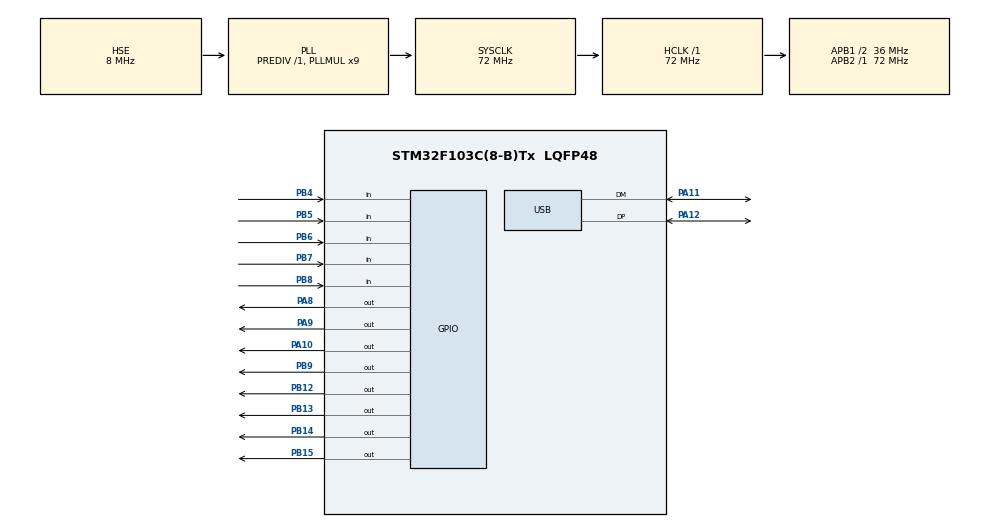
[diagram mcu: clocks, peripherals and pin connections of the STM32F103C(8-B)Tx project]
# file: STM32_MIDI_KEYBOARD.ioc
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Mcu.Family=STM32F1
Mcu.Name=STM32F103C(8-B)Tx
Mcu.Package=LQFP48
NVIC.PriorityGroup=NVIC_PRIORITYGROUP_4
PA10.GPIO_PuPd=GPIO_PULLDOWN
PA10.GPIO_Speed=GPIO_SPEED_FREQ_MEDIUM
PA10.Signal=GPIO_Output
PA11.Mode=Device
PA11.Signal=USB_DM
PA12.Mode=Device
PA12.Signal=USB_DP
PA13.Mode=Serial_Wire
PA13.Signal=SYS_JTMS-SWDIO
PA14.Mode=Serial_Wire
PA14.Signal=SYS_JTCK-SWCLK
PA8.GPIO_PuPd=GPIO_PULLDOWN
PA8.GPIO_Speed=GPIO_SPEED_FREQ_MEDIUM
PA8.Signal=GPIO_Output
PA9.GPIO_PuPd=GPIO_PULLDOWN
PA9.GPIO_Speed=GPIO_SPEED_FREQ_MEDIUM
PA9.Signal=GPIO_Output
PB12.GPIO_PuPd=GPIO_PULLDOWN
PB12.GPIO_Speed=GPIO_SPEED_FREQ_MEDIUM
PB12.Signal=GPIO_Output
PB13.GPIO_PuPd=GPIO_PULLDOWN
PB13.GPIO_Speed=GPIO_SPEED_FREQ_MEDIUM
PB13.Signal=GPIO_Output
PB14.GPIO_PuPd=GPIO_PULLDOWN
PB14.GPIO_Speed=GPIO_SPEED_FREQ_MEDIUM
PB14.Signal=GPIO_Output
PB15.GPIO_PuPd=GPIO_PULLDOWN
PB15.GPIO_Speed=GPIO_SPEED_FREQ_MEDIUM
PB15.Signal=GPIO_Output
PB4.GPIO_PuPd=GPIO_PULLDOWN
PB4.Signal=GPIO_Input
PB5.GPIO_PuPd=GPIO_PULLDOWN
PB5.Signal=GPIO_Input
PB6.GPIO_PuPd=GPIO_PULLDOWN
PB6.Signal=GPIO_Input
PB7.GPIO_PuPd=GPIO_PULLDOWN
PB7.Signal=GPIO_Input
PB8.GPIO_PuPd=GPIO_PULLDOWN
PB8.Signal=GPIO_Input
PB9.GPIO_PuPd=GPIO_PULLDOWN
PB9.GPIO_Speed=GPIO_SPEED_FREQ_MEDIUM
PB9.Signal=GPIO_Output
PC14-OSC32_IN.Mode=LSE-External-Oscillator
PC14-OSC32_IN.Signal=RCC_OSC32_IN
PC15-OSC32_OUT.Mode=LSE-External-Oscillator
PC15-OSC32_OUT.Signal=RCC_OSC32_OUT
PD0-OSC_IN.Mode=HSE-External-Oscillator
PD0-OSC_IN.Signal=RCC_OSC_IN
PD1-OSC_OUT.Mode=HSE-External-Oscillator
PD1-OSC_OUT.Signal=RCC_OSC_OUT
ProjectManager.HeapSize=0x200
ProjectManager.StackSize=0x400
ProjectManager.TargetToolchain=Makefile
RCC.AHBFreq_Value=72000000
RCC.APB1CLKDivider=RCC_HCLK_DIV2
RCC.APB1Freq_Value=36000000
RCC.APB1TimFreq_Value=72000000
RCC.APB2Freq_Value=72000000
RCC.APB2TimFreq_Value=72000000
RCC.HCLKFreq_Value=72000000
RCC.PLLMUL=RCC_PLL_MUL9
RCC.SYSCLKFreq_VALUE=72000000
RCC.SYSCLKSource=RCC_SYSCLKSOURCE_PLLCLK
RCC.USBFreq_Value=48000000
RCC.USBPrescaler=RCC_USBCLKSOURCE_PLL_DIV1_5
board=custom

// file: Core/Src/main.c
/* USER CODE BEGIN Header */
/**
 ******************************************************************************
 * @file           : main.c
 * @brief          : Main program body
 ******************************************************************************
 * @attention
 *
 * Copyright (c) 2024 STMicroelectronics.
 * All rights reserved.
 *
 * This software is licensed under terms that can be found in the LICENSE file
 * in the root directory of this software component.
 * If no LICENSE file comes with this software, it is provided AS-IS.
 *
 ******************************************************************************
 */
/* USER CODE END Header */
#include "main.h"
#include "usb.h"
#include "gpio.h"

/* USER CODE BEGIN Includes */
#include "usb_device.h"
#include "usbd_midi_if.h"
#include <string.h>
#include <stdint.h>
#include "midiMessage.h"

/* USER CODE END Includes */

/* USER CODE BEGIN PM */
PCD_HandleTypeDef hpcd_USB_FS;
/* USER CODE END PM */

/* USER CODE BEGIN PV */
static int firstNote = 53;

static uint64_t keypadState = 0;
static uint64_t previousKeypadState = 0;

/* USER CODE END PV */

void SystemClock_Config();

uint64_t GetKeypadState();

/* USER CODE BEGIN 0 */

uint8_t GetRowState(GPIO_TypeDef *gpio, uint16_t pin)
{
	HAL_GPIO_WritePin(gpio, pin, GPIO_PIN_SET);

	uint32_t oldResult = 0;
	uint32_t result = 0;
	uint8_t sameResultCount = 5;
	uint8_t allResultCount = 10;
	while (sameResultCount > 0 && allResultCount > 0)
	{
		result = GPIOB->IDR & (GPIO_PIN_4 | GPIO_PIN_5 | GPIO_PIN_6 | GPIO_PIN_7 | GPIO_PIN_8); // B4,B5,B6,B7,B8
		if (oldResult == result)
		{
			sameResultCount--;
		}
		else
		{
			sameResultCount = 5;
			oldResult = result;
		}

		allResultCount--;
	}

	HAL_GPIO_WritePin(gpio, pin, GPIO_PIN_RESET);

	return (uint8_t)(result >> 4);
}

uint64_t GetColumnState(GPIO_TypeDef *gpio, uint16_t pin)
{
	HAL_GPIO_WritePin(gpio, pin, GPIO_PIN_SET);

	uint64_t oldResult = 0;
	uint64_t result = 0;
	uint8_t sameResultCount = 5;
	uint8_t allResultCount = 10;
	uint32_t resultA;
	uint32_t resultB;
	while (sameResultCount > 0 && allResultCount > 0)
	{
		resultA = GPIOA->IDR & (GPIO_PIN_8 | GPIO_PIN_9 | GPIO_PIN_10);								 // A8,A9,A10
		resultB = GPIOB->IDR & (GPIO_PIN_9 | GPIO_PIN_12 | GPIO_PIN_13 | GPIO_PIN_14 | GPIO_PIN_14); // B9,B12,B13,B14,B15
		result = 0;
		if (resultB & GPIO_PIN_9)
		{
			result |= 1;
		}
		if (resultA & GPIO_PIN_10)
		{
			result |= 1 << 5;
		}
		if (resultA & GPIO_PIN_9)
		{
			result |= 1 << 10;
		}
		if (resultA & GPIO_PIN_8)
		{
			result |= 1 << 15;
		}
		if (resultB & GPIO_PIN_15)
		{
			result |= 1 << 20;
		}
		if (resultB & GPIO_PIN_14)
		{
			result |= 1 << 25;
		}
		if (resultB & GPIO_PIN_13)
		{
			result |= 1 << 30;
		}
		if (resultB & GPIO_PIN_12)
		{
			result |= (uint64_t)1 << 35;
		}

		if (oldResult == result)
		{
			sameResultCount--;
		}
		else
		{
			sameResultCount = 5;
			oldResult = result;
		}

		allResultCount--;
	}

	HAL_GPIO_WritePin(gpio, pin, GPIO_PIN_RESET);

	return result;
}

uint64_t GetKeypadStateByRow()
{
	uint64_t result = 0;
	uint8_t rowState;

	rowState = GetRowState(GPIOB, GPIO_PIN_12);
	result |= rowState;
	result <<= 5;

	rowState = GetRowState(GPIOB, GPIO_PIN_13);
	result |= rowState;
	result <<= 5;

	rowState = GetRowState(GPIOB, GPIO_PIN_14);
	result |= rowState;
	result <<= 5;

	rowState = GetRowState(GPIOB, GPIO_PIN_15);
	result |= rowState;
	result <<= 5;

	rowState = GetRowState(GPIOA, GPIO_PIN_8);
	result |= rowState;
	result <<= 5;

	rowState = GetRowState(GPIOA, GPIO_PIN_9);
	result |= rowState;
	result <<= 5;

	rowState = GetRowState(GPIOA, GPIO_PIN_10);
	result |= rowState;
	result <<= 5;

	rowState = GetRowState(GPIOB, GPIO_PIN_9);
	result |= rowState;

	return result;
}

uint64_t GetKeypadStateByColumn()
{

	uint64_t result = 0;
	uint64_t columnState;

	columnState = GetColumnState(GPIOB, GPIO_PIN_4);
	result |= columnState;

	columnState = GetColumnState(GPIOB, GPIO_PIN_5);
	result |= columnState << 1;

	columnState = GetColumnState(GPIOB, GPIO_PIN_6);
	result |= columnState << 2;

	columnState = GetColumnState(GPIOB, GPIO_PIN_7);
	result |= columnState << 3;

	columnState = GetColumnState(GPIOB, GPIO_PIN_8);
	result |= columnState << 4;

	return result;
}

uint64_t GetKeypadState()
{
	uint64_t resultByRow = GetKeypadStateByRow();
	uint64_t resultByColumn = GetKeypadStateByColumn();

	return resultByRow | resultByColumn;
}

/* USER CODE END 0 */

int main(void)
{

	/* MCU Configuration--------------------------------------------------------*/

	/* Reset of all peripherals, Initializes the Flash interface and the Systick. */
	HAL_Init();

	/* Configure the system clock */
	SystemClock_Config();

	/* Initialize all configured peripherals */
	MX_GPIO_Init();
	MX_USB_PCD_Init();
	/* USER CODE BEGIN 2 */

	HAL_NVIC_SetPriority(USB_LP_CAN1_RX0_IRQn, 2, 0);
	HAL_NVIC_EnableIRQ(USB_LP_CAN1_RX0_IRQn);
	MX_USB_DEVICE_Init();

	/* USER CODE END 2 */

	/* Infinite loop */
	/* USER CODE BEGIN WHILE */
	while (1)
	{
		keypadState = GetKeypadState();
		if (keypadState != previousKeypadState)
		{
			for (int note = 0; note < 37; note++)
			{
				uint64_t noteBit = (uint64_t)1 << note;
				if ((keypadState & noteBit) != (previousKeypadState & noteBit))
				{
					if ((keypadState & noteBit) == 0)
					{
						// note released
						midiMessage(MIDI_NOTE_OFF, 0, firstNote + note, 0);
					}
					else
					{
						// note pressed
						midiMessage(MIDI_NOTE_ON, 0, firstNote + note, 100);
					}
				}
			}

			previousKeypadState = keypadState;
		}

		/* USER CODE END WHILE */

	}
}

void SystemClock_Config(void)
{
	RCC_OscInitTypeDef RCC_OscInitStruct = {0};
	RCC_ClkInitTypeDef RCC_ClkInitStruct = {0};
	RCC_PeriphCLKInitTypeDef PeriphClkInit = {0};

	/** Initializes the RCC Oscillators according to the specified parameters
	 * in the RCC_OscInitTypeDef structure.
	 */
	RCC_OscInitStruct.OscillatorType = RCC_OSCILLATORTYPE_HSE;
	RCC_OscInitStruct.HSEState = RCC_HSE_ON;
	RCC_OscInitStruct.HSEPredivValue = RCC_HSE_PREDIV_DIV1;
	RCC_OscInitStruct.HSIState = RCC_HSI_ON;
	RCC_OscInitStruct.PLL.PLLState = RCC_PLL_ON;
	RCC_OscInitStruct.PLL.PLLSource = RCC_PLLSOURCE_HSE;
	RCC_OscInitStruct.PLL.PLLMUL = RCC_PLL_MUL9;
	if (HAL_RCC_OscConfig(&RCC_OscInitStruct) != HAL_OK)
	{
		Error_Handler();
	}

	/** Initializes the CPU, AHB and APB buses clocks
	 */
	RCC_ClkInitStruct.ClockType = RCC_CLOCKTYPE_HCLK | RCC_CLOCKTYPE_SYSCLK | RCC_CLOCKTYPE_PCLK1 | RCC_CLOCKTYPE_PCLK2;
	RCC_ClkInitStruct.SYSCLKSource = RCC_SYSCLKSOURCE_PLLCLK;
	RCC_ClkInitStruct.AHBCLKDivider = RCC_SYSCLK_DIV1;
	RCC_ClkInitStruct.APB1CLKDivider = RCC_HCLK_DIV2;
	RCC_ClkInitStruct.APB2CLKDivider = RCC_HCLK_DIV1;

	if (HAL_RCC_ClockConfig(&RCC_ClkInitStruct, FLASH_LATENCY_2) != HAL_OK)
	{
		Error_Handler();
	}
	PeriphClkInit.PeriphClockSelection = RCC_PERIPHCLK_USB;
	PeriphClkInit.UsbClockSelection = RCC_USBCLKSOURCE_PLL_DIV1_5;
	if (HAL_RCCEx_PeriphCLKConfig(&PeriphClkInit) != HAL_OK)
	{
		Error_Handler();
	}
}

void Error_Handler(void)
{
	__disable_irq();
	while (1)
	{
	}
}
